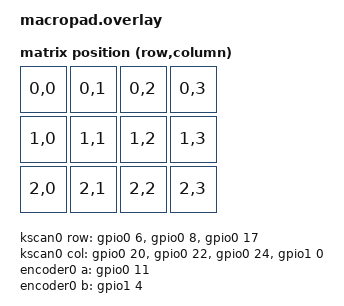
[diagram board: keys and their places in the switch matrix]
#include <dt-bindings/zmk/matrix_transform.h>
#include <dt-bindings/gpio/gpio.h>

/ {
    kscan0: kscan0 {
        compatible = "zmk,kscan-gpio-matrix";

        diode-direction = "row2col";

        row-gpios
            = <&gpio0 6 GPIO_ACTIVE_HIGH>
            , <&gpio0 8 GPIO_ACTIVE_HIGH>
            , <&gpio0 17 GPIO_ACTIVE_HIGH>
            ;

        col-gpios
            = <&gpio0 20 (GPIO_ACTIVE_HIGH | GPIO_PULL_DOWN)>
            , <&gpio0 22 (GPIO_ACTIVE_HIGH | GPIO_PULL_DOWN)>
            , <&gpio0 24 (GPIO_ACTIVE_HIGH | GPIO_PULL_DOWN)>
            , <&gpio1 0 (GPIO_ACTIVE_HIGH | GPIO_PULL_DOWN)>
            ;

    };

    encoder0: encoder0 {
        compatible = "alps,ec11";

        a-gpios = <&gpio0 11 (GPIO_ACTIVE_HIGH | GPIO_PULL_UP)>;
        b-gpios = <&gpio1 4 (GPIO_ACTIVE_HIGH | GPIO_PULL_UP)>;

        steps = <20>;

        status = "okay";
    };

    sensors: sensors {
        compatible = "zmk,keymap-sensors";

        sensors = <&encoder0>;

        triggers-per-rotation = <20>;
    };

    default_transform: keymap_transform {
        compatible = "zmk,matrix-transform";

        columns = <4>;
        rows = <3>;

        map = <
            RC(0,0) RC(0,1) RC(0,2) RC(0,3)
            RC(1,0) RC(1,1) RC(1,2) RC(1,3)
            RC(2,0) RC(2,1) RC(2,2) RC(2,3)
        >;
    };

    chosen {
        zmk,kscan = &kscan0;
        zmk,matrix-transform = &default_transform;
    };
};
